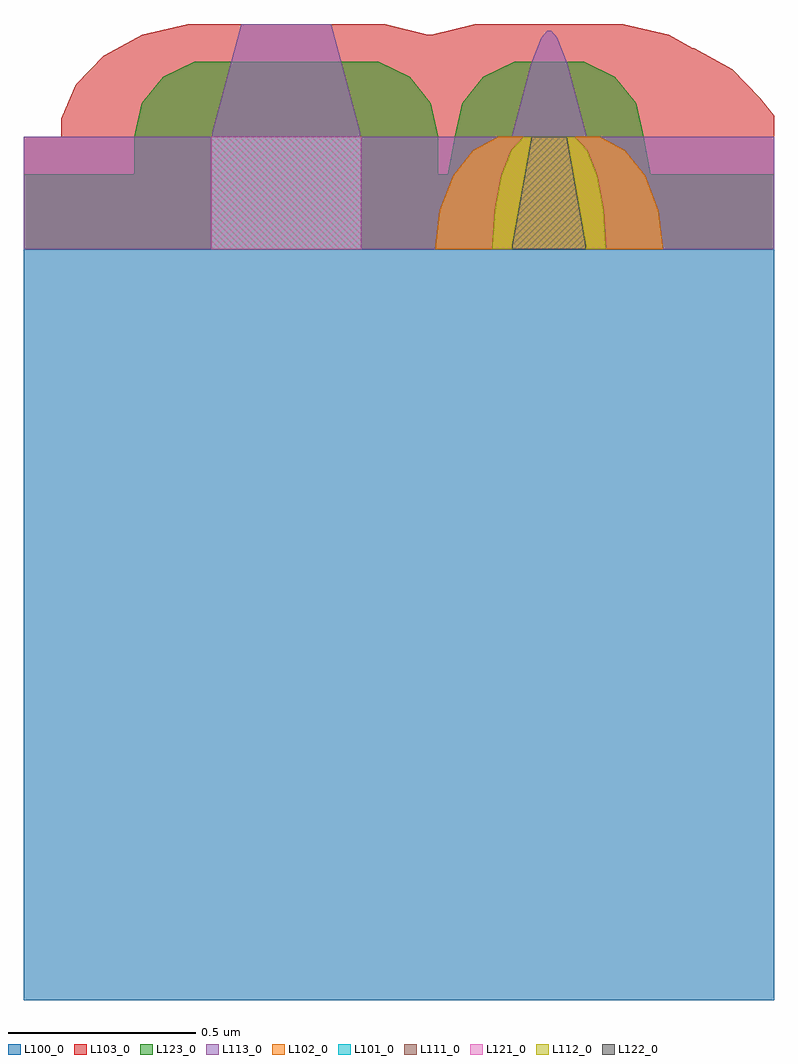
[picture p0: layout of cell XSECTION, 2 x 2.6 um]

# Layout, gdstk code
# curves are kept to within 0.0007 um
import gdstk
lib = gdstk.Library(unit=1e-6, precision=1e-09)
def R(c, l, rs):  # rectangles x0, y0, x1, y1
    for r in rs: c.add(gdstk.rectangle(r[:2], r[2:], *l))
def P(c, l, *ps):  # polygons
    for p in ps: c.add(gdstk.Polygon(p, *l))
L100_0 = (100, 0)
L101_0 = (101, 0)
L102_0 = (102, 0)
L103_0 = (103, 0)
L111_0 = (111, 0)
L112_0 = (112, 0)
L113_0 = (113, 0)
L121_0 = (121, 0)
L122_0 = (122, 0)
L123_0 = (123, 0)

xsection = lib.new_cell('XSECTION')
R(xsection, L100_0, [(0,-2,2,0)])
R(xsection, L101_0, [(0.5,0,0.9,0.3)])
P(xsection, L102_0, [(1.098,0),(1.098,0.01),(1.109,0.104),(1.144,0.196),(1.198,0.264),(1.265,0.3),(1.535,0.3),(1.602,0.264),(1.656,0.196),(1.691,0.104),(1.702,0.01),(1.702,0)])
P(xsection, L103_0, [(0,0),(0,0.3),(0.1,0.3),(0.1,0.348),(0.139,0.438),(0.214,0.515),(0.316,0.571),(0.437,0.6),(0.963,0.6),(1.077,0.572),(1.087,0.572),(1.202,0.6),(1.598,0.6),(1.719,0.571),(1.888,0.479),(1.963,0.402),(2,0.355),(2,0),(1.703,0),(1.691,0.104),(1.656,0.196),(1.602,0.264),(1.535,0.3),(1.265,0.3),(1.198,0.264),(1.144,0.196),(1.109,0.104),(1.097,0),(0.9,0),(0.9,0.3),(0.5,0.3),(0.5,0)])
R(xsection, L111_0, [(0.5,0,0.9,0.3)])
P(xsection, L112_0, [(1.249,0),(1.249,0.01),(1.255,0.104),(1.272,0.196),(1.299,0.264),(1.332,0.3),(1.468,0.3),(1.501,0.264),(1.528,0.196),(1.545,0.104),(1.551,0.01),(1.551,0)])
R(xsection, L113_0, [(0,0,0.5,0.3)])
P(xsection, L113_0, [(0.9,0),(0.9,0.3),(1.3,0.3),(1.352,0.496),(1.379,0.564),(1.395,0.582),(1.405,0.582),(1.421,0.564),(1.448,0.496),(1.5,0.3),(2,0.3),(2,0),(1.552,0),(1.545,0.104),(1.528,0.196),(1.501,0.264),(1.468,0.3),(1.332,0.3),(1.299,0.264),(1.272,0.196),(1.255,0.104),(1.248,0)],
  [(0.503,0.3),(0.503,0.31),(0.58,0.6),(0.82,0.6),(0.897,0.31),(0.897,0.3)])
R(xsection, L121_0, [(0.5,0,0.9,0.3)])
P(xsection, L122_0, [(1.302,0),(1.302,0.01),(1.353,0.3),(1.447,0.3),(1.498,0.01),(1.498,0)])
P(xsection, L123_0, [(0,0),(0,0.2),(0.295,0.2),(0.295,0.3),(0.315,0.389),(0.372,0.46),(0.454,0.5),(0.946,0.5),(1.028,0.46),(1.085,0.389),(1.105,0.3),(1.105,0.2),(1.13,0.2),(1.148,0.3),(1.168,0.389),(1.225,0.46),(1.307,0.5),(1.493,0.5),(1.575,0.46),(1.632,0.389),(1.652,0.3),(1.67,0.2),(2,0.2),(2,0),(1.5,0),(1.447,0.3),(1.353,0.3),(1.3,0),(0.9,0),(0.9,0.3),(0.5,0.3),(0.5,0)])

lib.write_gds('XSECTION.gds')
